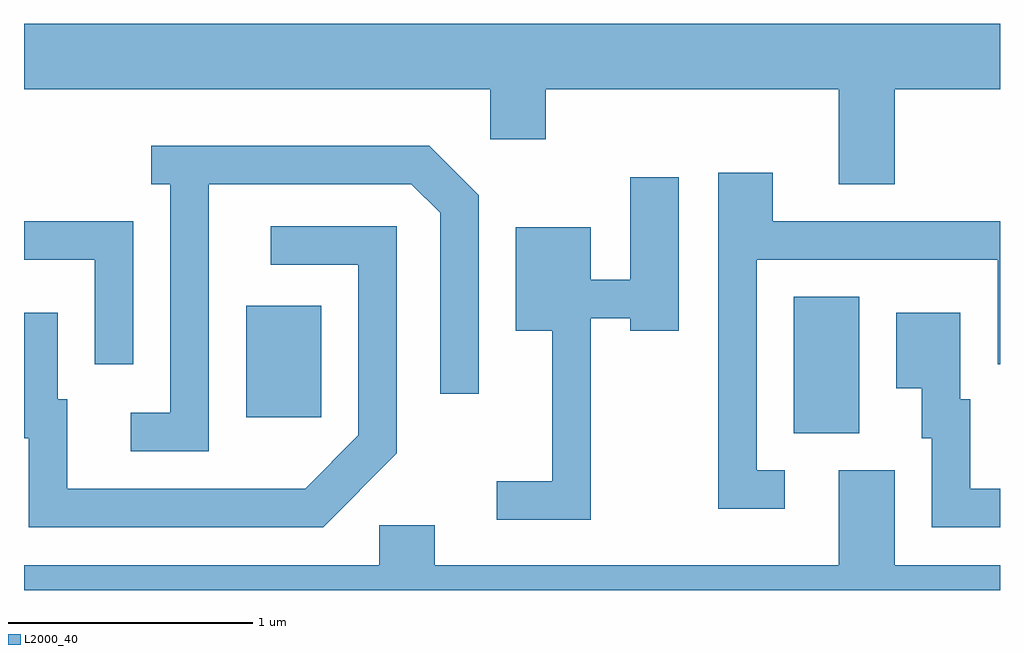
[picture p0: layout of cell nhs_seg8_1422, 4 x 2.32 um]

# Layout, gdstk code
import gdstk
lib = gdstk.Library(unit=1e-6, precision=1e-09)
def R(c, l, rs):  # rectangles x0, y0, x1, y1
    for r in rs: c.add(gdstk.rectangle(r[:2], r[2:], *l))
def P(c, l, *ps):  # polygons
    for p in ps: c.add(gdstk.Polygon(p, *l))
L2000_40 = (2000, 40)

nhs_seg8_1422 = lib.new_cell('nhs_seg8_1422')
R(nhs_seg8_1422, L2000_40, [(230.766,1854.986,231.034,1855.544), (228.521,1855.051,228.829,1855.509)])
P(nhs_seg8_1422, L2000_40, [(231.179,1856.396),(231.611,1856.396),(231.611,1856.664),(227.611,1856.664),(227.611,1856.396),(229.521,1856.396),(229.521,1856.191),(229.749,1856.191),(229.749,1856.396),(230.951,1856.396),(230.951,1856.006),(231.179,1856.006)],
  [(228.369,1856.006),(229.199,1856.006),(229.316,1855.889),(229.316,1855.148),(229.474,1855.148),(229.474,1855.962),(229.272,1856.164),(228.133,1856.164),(228.133,1856.006),(228.211,1856.006),(228.211,1855.069),(228.048,1855.069),(228.048,1854.911),(228.369,1854.911)],
  [(230.728,1854.834),(230.614,1854.834),(230.614,1855.696),(231.601,1855.696),(231.601,1855.268),(231.611,1855.268),(231.611,1855.854),(230.679,1855.854),(230.679,1856.054),(230.456,1856.054),(230.456,1854.676),(230.728,1854.676)],
  [(229.934,1855.456),(230.096,1855.456),(230.096,1855.406),(230.294,1855.406),(230.294,1856.034),(230.096,1856.034),(230.096,1855.614),(229.934,1855.614),(229.934,1855.829),(229.626,1855.829),(229.626,1855.406),(229.776,1855.406),(229.776,1854.789),(229.548,1854.789),(229.548,1854.631),(229.934,1854.631)],
  [(228.059,1855.854),(227.611,1855.854),(227.611,1855.696),(227.901,1855.696),(227.901,1855.268),(228.059,1855.268)],
  [(229.139,1854.904),(229.139,1855.834),(228.623,1855.834),(228.623,1855.676),(228.981,1855.676),(228.981,1854.977),(228.764,1854.759),(227.789,1854.759),(227.789,1855.124),(227.749,1855.124),(227.749,1855.479),(227.611,1855.479),(227.611,1854.966),(227.631,1854.966),(227.631,1854.601),(228.837,1854.601)],
  [(231.611,1854.759),(231.489,1854.759),(231.489,1855.124),(231.449,1855.124),(231.449,1855.479),(231.186,1855.479),(231.186,1855.171),(231.291,1855.171),(231.291,1854.966),(231.331,1854.966),(231.331,1854.601),(231.611,1854.601)],
  [(231.611,1854.444),(231.179,1854.444),(231.179,1854.834),(230.951,1854.834),(230.951,1854.444),(229.294,1854.444),(229.294,1854.609),(229.066,1854.609),(229.066,1854.444),(227.611,1854.444),(227.611,1854.342),(231.611,1854.342)])

lib.write_gds('nhs_seg8_1422.gds')
